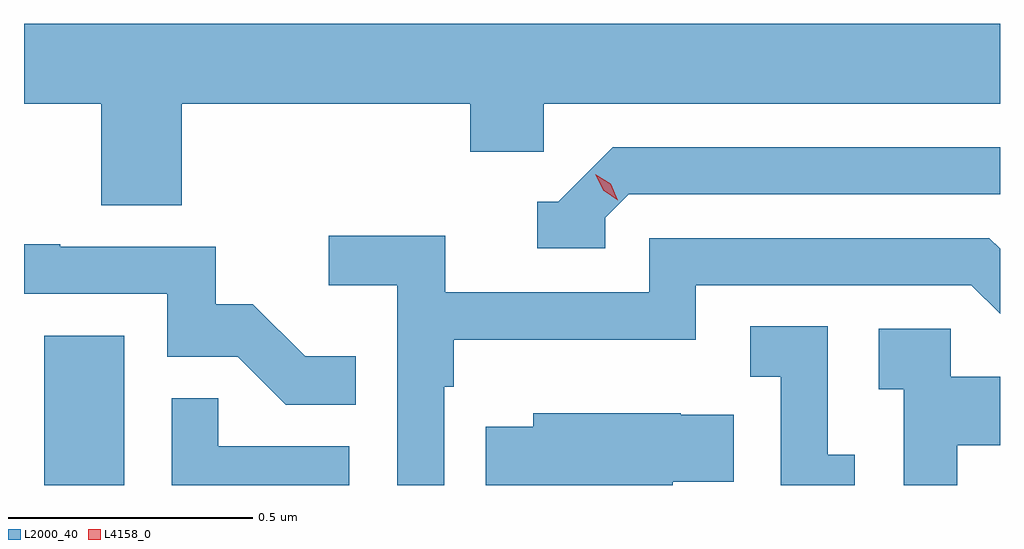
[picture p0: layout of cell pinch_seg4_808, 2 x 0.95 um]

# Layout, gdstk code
import gdstk
lib = gdstk.Library(unit=1e-6, precision=1e-09)
def R(c, l, rs):  # rectangles x0, y0, x1, y1
    for r in rs: c.add(gdstk.rectangle(r[:2], r[2:], *l))
def P(c, l, *ps):  # polygons
    for p in ps: c.add(gdstk.Polygon(p, *l))
L2000_40 = (2000, 40)
L4158_0 = (4158, 0)

pinch_seg4_808 = lib.new_cell('pinch_seg4_808')
R(pinch_seg4_808, L2000_40, [(805.124,825.343,805.288,825.649)])
P(pinch_seg4_808, L2000_40, [(805.406,826.124),(805.997,826.124),(805.997,826.026),(806.148,826.026),(806.148,826.124),(807.083,826.124),(807.083,826.288),(805.083,826.288),(805.083,826.124),(805.241,826.124),(805.241,825.916),(805.406,825.916)],
  [(806.274,825.891),(806.322,825.939),(807.083,825.939),(807.083,826.035),(806.289,826.035),(806.178,825.924),(806.135,825.924),(806.135,825.828),(806.274,825.828)],
  [(805.944,825.545),(805.964,825.545),(805.964,825.641),(806.46,825.641),(806.46,825.753),(807.024,825.753),(807.083,825.694),(807.083,825.827),(807.061,825.849),(806.364,825.849),(806.364,825.738),(805.946,825.738),(805.946,825.854),(805.707,825.854),(805.707,825.752),(805.848,825.752),(805.848,825.343),(805.944,825.343)],
  [(805.763,825.607),(805.659,825.607),(805.552,825.714),(805.476,825.714),(805.476,825.831),(805.157,825.831),(805.157,825.836),(805.083,825.836),(805.083,825.735),(805.377,825.735),(805.377,825.606),(805.521,825.606),(805.619,825.508),(805.763,825.508)],
  [(806.785,825.405),(806.73,825.405),(806.73,825.668),(806.571,825.668),(806.571,825.565),(806.634,825.565),(806.634,825.343),(806.785,825.343)],
  [(806.995,825.425),(807.083,825.425),(807.083,825.565),(806.982,825.565),(806.982,825.663),(806.835,825.663),(806.835,825.539),(806.886,825.539),(806.886,825.343),(806.995,825.343)],
  [(805.75,825.423),(805.481,825.423),(805.481,825.521),(805.386,825.521),(805.386,825.343),(805.75,825.343)],
  [(806.412,825.35),(806.537,825.35),(806.537,825.487),(806.429,825.487),(806.429,825.49),(806.127,825.49),(806.127,825.463),(806.029,825.463),(806.029,825.343),(806.412,825.343)])
P(pinch_seg4_808, L4158_0, [(806.3,825.927),(806.27,825.947),(806.254,825.98),(806.254,825.98),(806.254,825.98),(806.285,825.96),(806.3,825.927),(806.3,825.927)])

lib.write_gds('pinch_seg4_808.gds')
